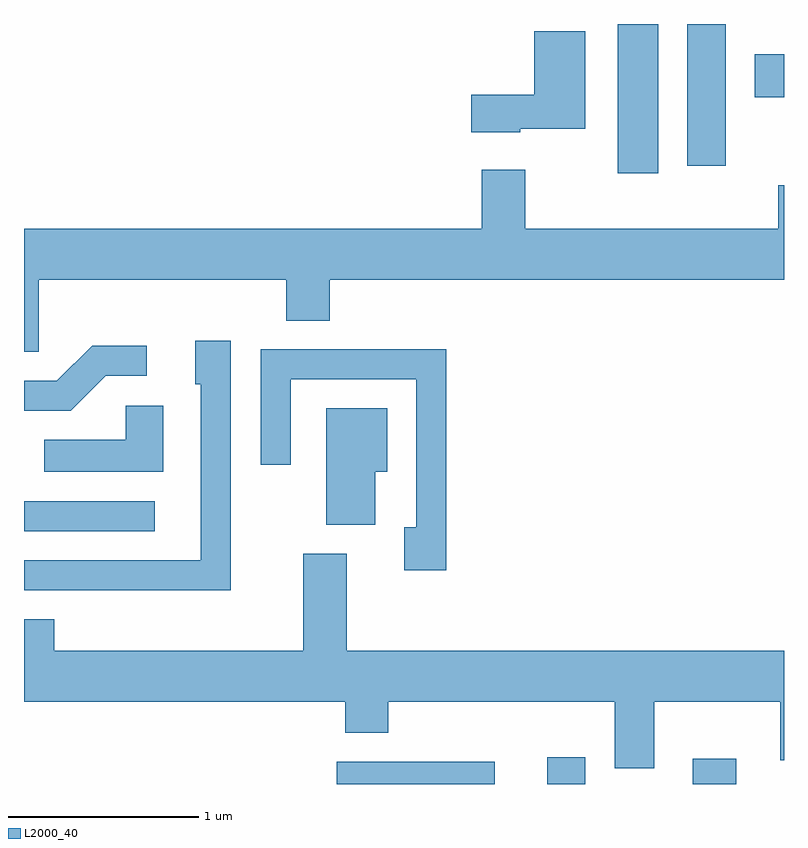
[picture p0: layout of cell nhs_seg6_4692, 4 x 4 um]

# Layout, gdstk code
import gdstk
lib = gdstk.Library(unit=1e-6, precision=1e-09)
def R(c, l, rs):  # rectangles x0, y0, x1, y1
    for r in rs: c.add(gdstk.rectangle(r[:2], r[2:], *l))
def P(c, l, *ps):  # polygons
    for p in ps: c.add(gdstk.Polygon(p, *l))
L2000_40 = (2000, 40)

nhs_seg6_4692 = lib.new_cell('nhs_seg6_4692')
R(nhs_seg6_4692, L2000_40, [(329.256,1656.162,330.088,1656.279), (330.366,1656.162,330.564,1656.304), (331.131,1656.162,331.359,1656.294), (327.611,1657.491,328.298,1657.649), (330.736,1659.376,330.949,1660.162), (331.101,1659.416,331.304,1660.162), (331.456,1659.776,331.611,1660.004)])
P(nhs_seg6_4692, L2000_40, [(330.224,1659.611),(330.564,1659.611),(330.564,1660.124),(330.296,1660.124),(330.296,1659.789),(329.966,1659.789),(329.966,1659.591),(330.224,1659.591)],
  [(327.689,1658.816),(328.991,1658.816),(328.991,1658.601),(329.219,1658.601),(329.219,1658.816),(331.611,1658.816),(331.611,1659.314),(331.581,1659.314),(331.581,1659.084),(330.249,1659.084),(330.249,1659.394),(330.021,1659.394),(330.021,1659.084),(327.611,1659.084),(327.611,1658.436),(327.689,1658.436)],
  [(328.699,1658.494),(328.511,1658.494),(328.511,1658.266),(328.541,1658.266),(328.541,1657.339),(327.611,1657.339),(327.611,1657.181),(328.699,1657.181)],
  [(328.042,1658.311),(328.258,1658.311),(328.258,1658.469),(327.969,1658.469),(327.784,1658.284),(327.611,1658.284),(327.611,1658.126),(327.857,1658.126)],
  [(329.834,1658.449),(328.856,1658.449),(328.856,1657.843),(329.014,1657.843),(329.014,1658.291),(329.676,1658.291),(329.676,1657.514),(329.611,1657.514),(329.611,1657.286),(329.834,1657.286)],
  [(328.344,1658.154),(328.146,1658.154),(328.146,1657.974),(327.718,1657.974),(327.718,1657.806),(328.344,1657.806)],
  [(329.459,1657.806),(329.524,1657.806),(329.524,1658.139),(329.201,1658.139),(329.201,1657.526),(329.459,1657.526)],
  [(329.309,1657.374),(329.081,1657.374),(329.081,1656.864),(327.769,1656.864),(327.769,1657.029),(327.611,1657.029),(327.611,1656.596),(329.301,1656.596),(329.301,1656.431),(329.529,1656.431),(329.529,1656.596),(330.721,1656.596),(330.721,1656.246),(330.929,1656.246),(330.929,1656.596),(331.591,1656.596),(331.591,1656.286),(331.611,1656.286),(331.611,1656.864),(329.309,1656.864)])

lib.write_gds('nhs_seg6_4692.gds')
